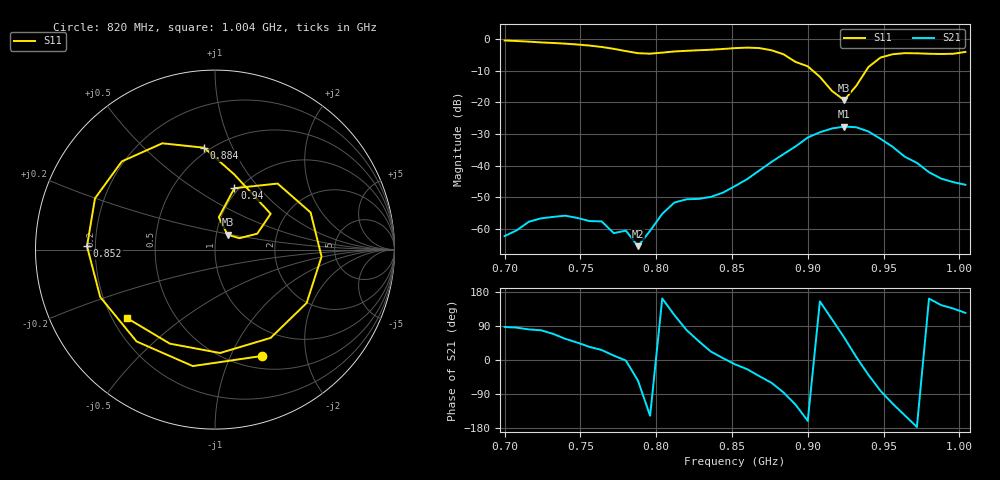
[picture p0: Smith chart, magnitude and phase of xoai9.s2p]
# Hz S RI R 50
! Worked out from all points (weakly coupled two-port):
!   39 points, 700 MHz to 1.004 GHz, reference 50 ohm
!   highest |S21| = -27.66 dB at 924 MHz (marker M1); lowest = -65.4 dB at 788 MHz (marker M2)
!   lowest |S11| = -19.3 dB at 924 MHz (marker M3), VSWR 1.24, Z = 56.7 + j9.46 ohm
!   |S11| at or under -10 dB: 903.2 MHz to 938.5 MHz (35.3 MHz wide, 3.83 % of centre)
!   S12 and S22 are empty: the file has one direction only
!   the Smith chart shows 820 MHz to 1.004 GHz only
!   S11 on the Smith chart (normalised r, x): 820 MHz: 0.65, -1.32; 852 MHz: 0.17, +0.01; 884 MHz: 0.47, +0.78; 940 MHz: 0.95, +0.75; 1.004 GHz: 0.26, -0.32
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7e8  0.7625 0.5543  3.76e-05 0.000777  0 0  0 0
7.24e8  0.8414 -0.2505  0.000295 0.00145  0 0  0 0
7.4e8  0.4574 -0.7039  0.000914 0.00135  0 0  0 0
7.56e8  -0.1946 -0.7588  0.0011 0.00076  0 0  0 0
7.72e8  -0.6669 -0.1974  0.000847 0.000174  0 0  0 0
7.8e8  -0.5962 0.2336  0.000946 -2.25e-05  0 0  0 0
7.88e8  -0.2394 0.5435  0.000312 -0.000439  0 0  0 0
7.96e8  0.2576 0.5232  -0.000792 -0.000511  0 0  0 0
8.04e8  0.5835 0.1636  -0.00166 0.000526  0 0  0 0
8.2e8  0.261 -0.5927  0.000559 0.0029  0 0  0 0
8.36e8  -0.437 -0.5117  0.00298 0.00123  0 0  0 0
8.52e8  -0.7131 0.0187  0.00467 -0.000943  0 0  0 0
8.68e8  -0.5191 0.4914  0.00618 -0.00567  0 0  0 0
8.84e8  -0.0606 0.5675  0.00114 -0.0152  0 0  0 0
9e8  0.3101 0.1995  -0.0262 -0.0092  0 0  0 0
9.08e8  0.2354 0.0888  -0.0304 0.0145  0 0  0 0
9.24e8  0.07 0.0824  0.021 0.0357  0 0  0 0
9.4e8  0.108 0.3421  0.0269 -0.0219  0 0  0 0
9.56e8  0.5327 0.2068  -0.00847 -0.0179  0 0  0 0
9.64e8  0.5937 -0.0391  -0.0115 -0.00774  0 0  0 0
9.8e8  0.31 -0.4919  -0.0075 0.00244  0 0  0 0
1.004e9  -0.4923 -0.3804  -0.00282 0.00413  0 0  0 0
